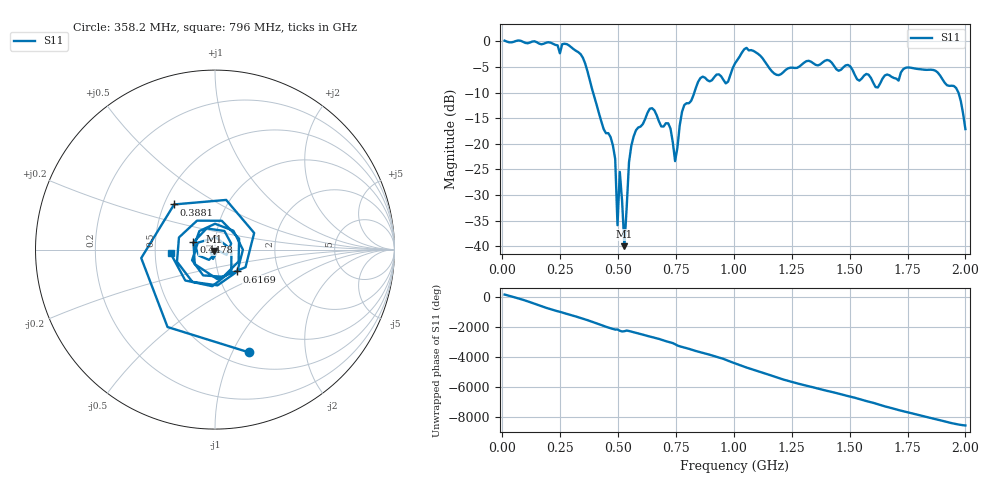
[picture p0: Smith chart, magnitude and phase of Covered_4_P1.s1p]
!Created with skrf (http://scikit-rf.org).
# Hz S RI R 50.0
!freq ReS11 ImS11
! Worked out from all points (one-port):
!   201 points, 10 MHz to 2 GHz, reference 50 ohm
!   lowest |S11| = -40.0 dB at 527.4 MHz (marker M1), VSWR 1.02, Z = 49.3 - j0.743 ohm
!   |S11| at or under -10 dB: 392 MHz to 829.4 MHz (437.4 MHz wide, 71.6 % of centre); 1.97 GHz to end of sweep
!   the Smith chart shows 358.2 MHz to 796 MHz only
!   S11 on the Smith chart (normalised r, x): 358.2 MHz: 0.65, -1.16; 388.1 MHz: 0.56, +0.32; 447.8 MHz: 0.78, +0.06; 617 MHz: 1.24, -0.31; 796 MHz: 0.60, -0.03
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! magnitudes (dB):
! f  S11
! 10 MHz  0.1
! 258.8 MHz  -0.6
! 358.2 MHz  -4.4
! 388.1 MHz  -9.4
! 447.8 MHz  -17.9
! 487.6 MHz  -23.0
! 497.6 MHz  -35.9
! 507.5 MHz  -25.5
! 527.4 MHz  -40.0
! 547.3 MHz  -23.6
! 557.2 MHz  -20.4
! 617 MHz  -15.2
! 646.8 MHz  -13.1
! 726.4 MHz  -17.0
! 746.3 MHz  -23.4
! 756.2 MHz  -20.8
! 796 MHz  -12.1
! 855.8 MHz  -7.2
! 965.2 MHz  -8.2
! 1.005 GHz  -4.3
! 1.055 GHz  -1.3
! 1.184 GHz  -6.5
! 1.254 GHz  -5.2
! 1.502 GHz  -4.9
! 1.622 GHz  -9.0
! 1.751 GHz  -5.1
! 1.96 GHz  -9.1
! 2 GHz  -17.1
